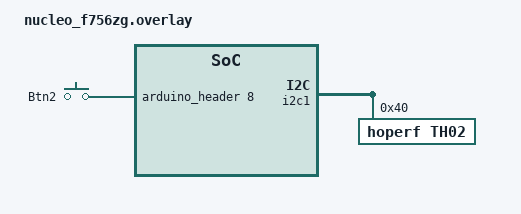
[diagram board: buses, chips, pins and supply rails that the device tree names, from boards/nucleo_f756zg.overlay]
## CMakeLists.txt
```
# SPDX-License-Identifier: Apache-2.0

cmake_minimum_required(VERSION 3.28.3)

find_package(Zephyr REQUIRED HINTS $ENV{ZEPHYR_BASE})
project(secure_mqtt_sensor_actuator)

FILE(GLOB app_sources src/*.c)
target_sources(app PRIVATE ${app_sources})

zephyr_include_directories(${APPLICATION_SOURCE_DIR}/src/tls_config)
```

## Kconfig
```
# Copyright (c) 2024 Analog Devices, Inc.
# SPDX-License-Identifier: Apache-2.0

mainmenu "Secure MQTT Sensor Actuator Sample Application"

config NET_SAMPLE_MQTT_BROKER_HOSTNAME
	string "Hostname of MQTT broker"
	default "192.0.5.1"
	help
	  MQTT broker's hostname or IP address.

config NET_SAMPLE_MQTT_BROKER_PORT
	string "MQTT Broker Connection Port"
	default "8883"
	help
	  Port through which the application should connect to the MQTT broker.
	  Secure MQTT uses port 8883.

config NET_SAMPLE_MQTT_PUB_TOPIC
	string "The MQTT topic the application should publish data to"
	default "zephyr_sample/sensor"

config NET_SAMPLE_MQTT_PUB_TOPIC_GPIO
	string "The MQTT topic the application should publish data to (GPIO)"
	default "zephyr_sample/gpio"

config NET_SAMPLE_MQTT_SUB_TOPIC_CMD
	string "The MQTT topic the application will receive commands on"
	default "zephyr_sample/command"

config NET_SAMPLE_MQTT_PUBLISH_INTERVAL
	int "Interval between MQTT publishes (in seconds)"
	default 2
	help
	  This config determines the frequency at which MQTT publishes occur.

choice NET_SAMPLE_MQTT_QOS
	prompt "Quality of Service level used for MQTT publish and subscribe"
	default NET_SAMPLE_MQTT_QOS_1_AT_LEAST_ONCE

config NET_SAMPLE_MQTT_QOS_0_AT_MOST_ONCE
	bool "QoS 0 / At most once delivery"
	help
	  No acknowledgment needed for published message.

config NET_SAMPLE_MQTT_QOS_1_AT_LEAST_ONCE
	bool "QoS 1 / At least once delivery"
	help
	  If acknowledgment expected for published message, duplicate messages permitted.

config NET_SAMPLE_MQTT_QOS_2_EXACTLY_ONCE
	bool "QoS 2 / Exactly once delivery"
	help
	   Acknowledgment expected and message shall be published only once.

endchoice

config NET_SAMPLE_MQTT_PAYLOAD_SIZE
	int "Size of MQTT payload in bytes"
	default 300

source "Kconfig.zephyr"
```

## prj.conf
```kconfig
# Enable network stack
CONFIG_NETWORKING=y
CONFIG_NET_LOG=y

# Enable IPv4
CONFIG_NET_IPV4=y

# Enable IPv6
CONFIG_NET_IPV6=y

# Enable TCP
CONFIG_NET_TCP=y

# Enable DHCP
CONFIG_NET_DHCPV4=y

# Enable Sockets (used by MQTT lib)
CONFIG_NET_SOCKETS=y
CONFIG_NET_SOCKETS_SOCKOPT_TLS=y

# Enable MQTT
CONFIG_MQTT_LIB=y
CONFIG_MQTT_LIB_TLS=y

# Enable Mbed TLS
CONFIG_MBEDTLS=y
CONFIG_MBEDTLS_BUILTIN=y
CONFIG_MBEDTLS_ENABLE_HEAP=y
CONFIG_MBEDTLS_HEAP_SIZE=60000
CONFIG_MBEDTLS_SSL_MAX_CONTENT_LEN=16384
CONFIG_MBEDTLS_PEM_CERTIFICATE_FORMAT=y
CONFIG_MBEDTLS_SERVER_NAME_INDICATION=y

# Enable JSON
CONFIG_JSON_LIBRARY=y

# Enable net conn manager
CONFIG_NET_CONNECTION_MANAGER=y

# Enable device hostname
CONFIG_NET_HOSTNAME_ENABLE=y

# Enable Posix API functionality
CONFIG_POSIX_API=y

# Enable sensor API
CONFIG_SENSOR=y

# Enable LED API
CONFIG_LED=y

# Main stack size
CONFIG_MAIN_STACK_SIZE=2048

# System work queue stack size
CONFIG_SYSTEM_WORKQUEUE_STACK_SIZE=2048

# Increase Rx net buffers and packets
CONFIG_NET_BUF_RX_COUNT=200
CONFIG_NET_PKT_RX_COUNT=50


# Ethernet is needed for PTP
CONFIG_NET_L2_ETHERNET=y
# ...so is UDP
CONFIG_NET_UDP=y

# PTP settings
CONFIG_PTP_CLOCK=y
CONFIG_PTP=y
#72894CONFIG_PTP_LOG_LEVEL_DBG=y

CONFIG_PTP_TIME_RECEIVER_ONLY=y
CONFIG_MAIN_STACK_SIZE=4096
CONFIG_REQUIRES_FLOAT_PRINTF=y

CONFIG_NET_MGMT=y
CONFIG_NET_MGMT_EVENT=y

CONFIG_NET_SHELL=y
CONFIG_NET_MGMT_EVENT_QUEUE_SIZE=10

CONFIG_INPUT=y
```

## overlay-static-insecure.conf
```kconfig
# Config to disable TLS and DHCPv4, allowing insecure MQTT and a static IP address.
# This allows quick testing of the application without need for a DHCP server or secure MQTT broker set up.
# Only recommended for quick sampling/testing.
# Usage: west build -b <board> -- -DOVERLAY_CONFIG=overlay-static-insecure.conf

# Disable MQTT with TLS
CONFIG_MQTT_LIB_TLS=n

# Disable DHCP
CONFIG_NET_DHCPV4=y

# Insecure MQTT uses port 1883
CONFIG_NET_SAMPLE_MQTT_BROKER_PORT="1883"

# # Static IP address config
CONFIG_NET_CONFIG_SETTINGS=y
# CONFIG_NET_CONFIG_MY_IPV4_ADDR="192.0.5.111"
CONFIG_NET_SAMPLE_MQTT_BROKER_HOSTNAME="192.0.5.1"
```

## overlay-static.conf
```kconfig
CONFIG_NET_DHCPV4=n
CONFIG_NET_CONFIG_SETTINGS=y
CONFIG_NET_CONFIG_NEED_IPV4=y
CONFIG_NET_CONFIG_MY_IPV4_ADDR="192.0.2.3"
CONFIG_NET_CONFIG_MY_IPV4_GW="192.0.2.2"
CONFIG_DNS_RESOLVER=y
CONFIG_DNS_SERVER_IP_ADDRESSES=y
CONFIG_DNS_SERVER1="8.8.8.8"
```

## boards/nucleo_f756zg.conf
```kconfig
CONFIG_NET_SAMPLE_MQTT_PUB_TOPIC="zephyr_sample/nucleo_f756g/sensor"
CONFIG_NET_SAMPLE_MQTT_PUB_TOPIC_GPIO="zephyr_sample/nucleo_f756g/gpio"
CONFIG_NET_SAMPLE_MQTT_SUB_TOPIC_CMD="zephyr_sample/nucleo_f756g/command"
```

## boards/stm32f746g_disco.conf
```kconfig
CONFIG_NET_SAMPLE_MQTT_PUB_TOPIC="zephyr_sample/f746gdisco/sensor"
CONFIG_NET_SAMPLE_MQTT_PUB_TOPIC_GPIO="zephyr_sample/f746gdisco/gpio"
CONFIG_NET_SAMPLE_MQTT_SUB_TOPIC_CMD="zephyr_sample/f746gdisco/command"
```

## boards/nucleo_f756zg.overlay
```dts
/*
 * Copyright (c) 2024 STMicroelectronics
 *
 * SPDX-License-Identifier: Apache-2.0
 */

 / {

	aliases {
		ambient-temp0 = &th02;
	};

	gpio_keys {
		// debounce-interval-ms = <2000>;
		user_button2: button2 {
			label = "Btn2";
			gpios = <&arduino_header 8 GPIO_PULL_UP>;
			zephyr,code = <INPUT_KEY_1>;
		};
	};
};

&i2c1 {
	th02: th02@40 {
		compatible = "hoperf,th02";
		reg = <0x40>;
	};
};
```

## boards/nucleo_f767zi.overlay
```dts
/*
 * Copyright (c) 2024 STMicroelectronics
 *
 * SPDX-License-Identifier: Apache-2.0
 */

/ {

	aliases {
		ambient-temp0 = &bme280_mikroe_weather_click;
	};

	gpio_keys {
		// debounce-interval-ms = <2000>;
		user_button2: button2 {
			label = "Btn2";
			gpios = <&arduino_header 8 GPIO_PULL_UP>;
			zephyr,code = <INPUT_KEY_1>;
		};
	};

};
```

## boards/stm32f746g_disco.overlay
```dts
/*
 * Copyright (c) 2024 STMicroelectronics
 *
 * SPDX-License-Identifier: Apache-2.0
 */

/ {
	gpio_keys {
		// debounce-interval-ms = <2000>;
		user_button2: button2 {
			label = "Btn2";
			gpios = <&arduino_header 8 GPIO_PULL_UP>;
			zephyr,code = <INPUT_KEY_1>;
		};
	};
};
```

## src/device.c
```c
/*
 * Copyright (c) 2024 Analog Devices, Inc.
 *
 * SPDX-License-Identifier: Apache-2.0
 */

#include <zephyr/logging/log.h>
LOG_MODULE_REGISTER(app_device, LOG_LEVEL_DBG);

#include <zephyr/kernel.h>
#include <zephyr/drivers/ptp_clock.h>
#include <zephyr/drivers/sensor.h>
#include <zephyr/drivers/led.h>
#include <zephyr/random/random.h>

#include <zephyr/net/net_if.h>
#include <zephyr/net/ethernet.h>

#include "device.h"

#include <time.h>

#include <zephyr/input/input.h>


#define SENSOR_CHAN     SENSOR_CHAN_AMBIENT_TEMP
#define SENSOR_UNIT     "Celsius"

/* Devices */
static const struct device *sensor = DEVICE_DT_GET_OR_NULL(DT_ALIAS(ambient_temp0));
static const struct device *leds = DEVICE_DT_GET_OR_NULL(DT_INST(0, gpio_leds));

extern struct k_msgq input_events_msgq;

/* Command handlers */
static void led_on_handler(void)
{
	device_write_led(LED_USER, LED_ON);
}

static void led_off_handler(void)
{
	device_write_led(LED_USER, LED_OFF);
}

/* Supported device commands */
struct device_cmd device_commands[] = {
	{"led_on", led_on_handler},
	{"led_off", led_off_handler}
};

const size_t num_device_commands = ARRAY_SIZE(device_commands);

/* Command dispatcher */
void device_command_handler(uint8_t *command)
{
	for (int i = 0; i < num_device_commands; i++) {
		if (strcmp(command, device_commands[i].command) == 0) {
			LOG_INF("Executing device command: %s", device_commands[i].command);
			return device_commands[i].handler();
		}
	}
	LOG_ERR("Unknown command: %s", command);
}

int device_read_sensor(struct sensor_sample *sample)
{
	int rc;
	struct sensor_value sensor_val;

	/* Read sample only if a real sensor device is present
	 * otherwise return a dummy value
	 */
	if (sensor == NULL) {
		sample->unit = SENSOR_UNIT;
		sample->value = 20.0 + (double)sys_rand32_get() / UINT32_MAX * 5.0;
		return 0;
	}

	struct net_if *iface;

	iface = net_if_get_default();
	if (iface == NULL) {
		LOG_ERR("No network interface configured");
		return -ENETDOWN;
	}

	const struct device *clk;
	struct net_ptp_time tm;

	clk = net_eth_get_ptp_clock(iface);
	if(clk) {
		rc = ptp_clock_get(clk, &tm);
		if (rc) {
			LOG_ERR("Failed to get PTP clock time [%d]", rc);
			return rc;
		}
		// printf("PTP clock time: %lld.%llu\n", tm.second, tm.nanosecond);

		time_t sec = (time_t)tm.second - 37; /** UTC to TAI offset */
		struct tm *tm_info = gmtime(&sec);

		char buffer[50];
		// Format time as ISO 8601 string with nanoseconds
		strftime(buffer, sizeof(buffer), "%Y-%m-%dT%H:%M:%S", tm_info);
		snprintf(buffer, sizeof(buffer), "%s.%dZ", buffer, tm.nanosecond);
	//	strncpy(sample->timestamp, buffer, sizeof(buffer));
		sample->ts.seconds = tm.second - 37;
		sample->ts.nanoseconds = tm.nanosecond;
	} else {
	//	sample->ts = { 0, 0 };
	}

	rc = sensor_sample_fetch(sensor);
	if (rc) {
		LOG_ERR("Failed to fetch sensor sample [%d]", rc);
		return rc;
	}

	rc = sensor_channel_get(sensor, SENSOR_CHAN, &sensor_val);
	if (rc) {
		LOG_ERR("Failed to get sensor channel [%d]", rc);
		return rc;
	}

	sample->unit = SENSOR_UNIT;
	sample->value = sensor_value_to_float(&sensor_val);
	return rc;
}

int device_write_led(enum led_id led_idx, enum led_state state)
{
	int rc;

	switch (state) {
	case LED_OFF:
		if (leds == NULL) {
			LOG_INF("LED %d OFF", led_idx);
			break;
		}
		led_off(leds, led_idx);
		break;
	case LED_ON:
		if (leds == NULL) {
			LOG_INF("LED %d ON", led_idx);
			break;
		}
		led_on(leds, led_idx);
		break;
	default:
		LOG_ERR("Invalid LED state setting");
		rc = -EINVAL;
		break;
	}

	return rc;
}

static int get_ptp_clock_time(struct net_ptp_time *tm)
{
	struct net_if *iface;
	int rc;

	iface = net_if_get_default();
	if (iface == NULL) {
		LOG_ERR("No network interface configured");
		return -ENETDOWN;
	}

	const struct device *clk;

	clk = net_eth_get_ptp_clock(iface);
	if(clk) {
		rc = ptp_clock_get(clk, tm);
		if (rc) {
			LOG_ERR("Failed to get PTP clock time [%d]", rc);
			return rc;
		}
	} else {
		tm->second = 0;
		tm->nanosecond = 0;
	}

	return 0;
}

static struct timestamp event_ts;

static void input_dump_cb(struct input_event *evt)
{
	uint64_t event_time = k_cycle_get_64();
	struct net_ptp_time tm;
	int rc;

	if(evt->value != 1) {
		return;
	}

	rc = get_ptp_clock_time(&tm);
	if (rc == 0) {
		uint64_t get_time = k_cycle_get_64();

		time_t sec = (time_t)tm.second - 37; /** UTC to TAI offset */
		struct tm *tm_info = gmtime(&sec);

		// correct by the time it took to get the PTP clock time
		tm.nanosecond -= k_cyc_to_ns_floor64(get_time - event_time);

		// correct by the debounce time (30ms). TODO -- shouldn't be hardcoded!
		tm.nanosecond -= 30 * 1000 * 1000;

		char buffer[50];
		// Format time as ISO 8601 string with nanoseconds
		strftime(buffer, sizeof(buffer), "%Y-%m-%dT%H:%M:%S", tm_info);
		snprintf(buffer, sizeof(buffer), "%s.%dZ", buffer, tm.nanosecond);
		printk("PTP clock time: %s\n", buffer);

		event_ts.seconds = tm.second - 37;
		event_ts.nanoseconds = tm.nanosecond;

		k_msgq_put(&input_events_msgq, &event_ts, K_NO_WAIT);
	} else {
		LOG_ERR("Failed to get PTP clock time [%d]", rc);
	}
}
INPUT_CALLBACK_DEFINE(NULL, input_dump_cb);


bool devices_ready(void)
{
	bool rc = true;

	/* Check readiness only if a real sensor device is present */
	if (sensor != NULL) {
		if (!device_is_ready(sensor)) {
			LOG_ERR("Device %s is not ready", sensor->name);
			rc = false;
		} else {
			LOG_INF("Device %s is ready", sensor->name);
		}
	}

	if (leds != NULL) {
		if (!device_is_ready(leds)) {
			LOG_ERR("Device %s is not ready", leds->name);
			rc = false;
		} else {
			LOG_INF("Device %s is ready", leds->name);
		}
	}

	return rc;
}
```

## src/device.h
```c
/*
 * Copyright (c) 2024 Analog Devices, Inc.
 *
 * SPDX-License-Identifier: Apache-2.0
 */

#ifndef __DEVICE_H__
#define __DEVICE_H__

/** @brief Sensor sample structure */

struct timestamp {
	uint64_t seconds;
	uint32_t nanoseconds;
};

struct sensor_sample {
	const char *unit;
	struct timestamp ts;
	float value;
};

/** @brief Available board LEDs */
enum led_id {
	LED_NET, /* Network status LED*/
	LED_USER /* User LED */
};

/** @brief LED states */
enum led_state {
	LED_OFF,
	LED_ON
};

/** @brief Device command consisting of a command string
 *         and associated handler function pointer
 */
struct device_cmd {
	const char *command;
	void (*handler)();
};

/**
 *  @brief Check if all devices are ready
 */
bool devices_ready(void);

/**
 *  @brief Read sample from the sensor
 */
int device_read_sensor(struct sensor_sample *sample);

/**
 *  @brief Write to a board LED
 */
int device_write_led(enum led_id led_idx, enum led_state state);

/**
 *  @brief Handler function for commands received over MQTT
 */
void device_command_handler(uint8_t *command);

#endif /* __DEVICE_H__ */
```

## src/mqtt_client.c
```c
/*
 * Copyright (c) 2024 Analog Devices, Inc.
 *
 * SPDX-License-Identifier: Apache-2.0
 */

#include <zephyr/logging/log.h>
LOG_MODULE_REGISTER(app_mqtt, LOG_LEVEL_DBG);

#include <zephyr/kernel.h>
#include <zephyr/net/socket.h>
#include <zephyr/net/mqtt.h>
#include <zephyr/data/json.h>
#include <zephyr/random/random.h>

#include "mqtt_client.h"
#include "device.h"

/* Buffers for MQTT client */
static uint8_t rx_buffer[CONFIG_NET_SAMPLE_MQTT_PAYLOAD_SIZE];
static uint8_t tx_buffer[CONFIG_NET_SAMPLE_MQTT_PAYLOAD_SIZE];

/* MQTT payload buffer */
static uint8_t payload_buf[CONFIG_NET_SAMPLE_MQTT_PAYLOAD_SIZE];

/* MQTT broker details */
static struct sockaddr_storage broker;

/* Socket descriptor */
static struct zsock_pollfd fds[1];
static int nfds;

/* JSON payload format */

static const struct json_obj_descr timestamp_descr[] = {
	JSON_OBJ_DESCR_PRIM(struct timestamp, seconds, JSON_TOK_NUMBER),
	JSON_OBJ_DESCR_PRIM(struct timestamp, nanoseconds, JSON_TOK_NUMBER),
};

static const struct json_obj_descr sensor_sample_descr[] = {
	JSON_OBJ_DESCR_PRIM(struct sensor_sample, unit, JSON_TOK_STRING),
	JSON_OBJ_DESCR_OBJECT(struct sensor_sample, ts, timestamp_descr),
	JSON_OBJ_DESCR_PRIM(struct sensor_sample, value, JSON_TOK_FLOAT),
};

K_MSGQ_DEFINE(input_events_msgq, sizeof(struct timestamp), 10, 1);

/* MQTT connectivity status flag */
bool mqtt_connected;

/* MQTT client ID buffer */
static uint8_t client_id[50];

#if defined(CONFIG_MQTT_LIB_TLS)
#include "tls_config/cert.h"

/* This should match the CN field in the server's CA cert */
#define TLS_SNI_HOSTNAME	CONFIG_NET_SAMPLE_MQTT_BROKER_HOSTNAME
#define APP_CA_CERT_TAG		1

static const sec_tag_t m_sec_tags[] = {
	APP_CA_CERT_TAG,
};

/** Register CA certificate for TLS */
static int tls_init(void)
{
	int rc;

	rc = tls_credential_add(APP_CA_CERT_TAG, TLS_CREDENTIAL_CA_CERTIFICATE,
				 ca_certificate, sizeof(ca_certificate));
	if (rc < 0) {
		LOG_ERR("Failed to register public certificate: %d", rc);
		return rc;
	}

	return rc;
}
#endif

static void prepare_fds(struct mqtt_client *client)
{
	if (client->transport.type == MQTT_TRANSPORT_NON_SECURE) {
		fds[0].fd = client->transport.tcp.sock;
	}
#if defined(CONFIG_MQTT_LIB_TLS)
	else if (client->transport.type == MQTT_TRANSPORT_SECURE) {
		fds[0].fd = client->transport.tls.sock;
	}
#endif

	fds[0].events = ZSOCK_POLLIN;
	nfds = 1;
}

static void clear_fds(void)
{
	nfds = 0;
}

/** Initialise the MQTT client ID as the board name with random hex postfix */
static void init_mqtt_client_id(void)
{
	snprintk(client_id, sizeof(client_id), CONFIG_BOARD"_%x", (uint8_t)sys_rand32_get());
}

static inline void on_mqtt_connect(void)
{
	mqtt_connected = true;
	device_write_led(LED_NET, LED_ON);
	LOG_INF("Connected to MQTT broker!");
	LOG_INF("Hostname: %s", CONFIG_NET_SAMPLE_MQTT_BROKER_HOSTNAME);
	LOG_INF("Client ID: %s", client_id);
	LOG_INF("Port: %s", CONFIG_NET_SAMPLE_MQTT_BROKER_PORT);
	LOG_INF("TLS: %s",
		IS_ENABLED(CONFIG_MQTT_LIB_TLS) ? "Enabled" : "Disabled");
}

static inline void on_mqtt_disconnect(void)
{
	mqtt_connected = false;
	clear_fds();
	device_write_led(LED_NET, LED_OFF);
	LOG_INF("Disconnected from MQTT broker");
}

/** Called when an MQTT payload is received.
 *  Reads the payload and calls the commands
 *  handler if a payloads is received on the
 *  command topic
 */
static void on_mqtt_publish(struct mqtt_client *const client, const struct mqtt_evt *evt)
{
	int rc;
	uint8_t payload[CONFIG_NET_SAMPLE_MQTT_PAYLOAD_SIZE];

	rc = mqtt_read_publish_payload(client, payload,
					CONFIG_NET_SAMPLE_MQTT_PAYLOAD_SIZE);
	if (rc < 0) {
		LOG_ERR("Failed to read received MQTT payload [%d]", rc);
		return;
	}
	/* Place null terminator at end of payload buffer */
	payload[rc] = '\0';

	LOG_INF("MQTT payload received!");
	LOG_INF("topic: '%s', payload: %s",
		evt->param.publish.message.topic.topic.utf8, payload);

	/* If the topic is a command, call the command handler  */
	if (strcmp(evt->param.publish.message.topic.topic.utf8,
			CONFIG_NET_SAMPLE_MQTT_SUB_TOPIC_CMD) == 0) {
		device_command_handler(payload);
	}
}

/** Handler for asynchronous MQTT events */
static void mqtt_event_handler(struct mqtt_client *const client, const struct mqtt_evt *evt)
{
	switch (evt->type) {
	case MQTT_EVT_CONNACK:
		if (evt->result != 0) {
			LOG_ERR("MQTT Event Connect failed [%d]", evt->result);
			break;
		}
		on_mqtt_connect();
		break;

	case MQTT_EVT_DISCONNECT:
		on_mqtt_disconnect();
		break;

	case MQTT_EVT_PINGRESP:
		LOG_INF("PINGRESP packet");
		break;

	case MQTT_EVT_PUBACK:
		if (evt->result != 0) {
			LOG_ERR("MQTT PUBACK error [%d]", evt->result);
			break;
		}

		LOG_INF("PUBACK packet ID: %u", evt->param.puback.message_id);
		break;

	case MQTT_EVT_PUBREC:
		if (evt->result != 0) {
			LOG_ERR("MQTT PUBREC error [%d]", evt->result);
			break;
		}

		LOG_INF("PUBREC packet ID: %u", evt->param.pubrec.message_id);

		const struct mqtt_pubrel_param rel_param = {
			.message_id = evt->param.pubrec.message_id
		};

		mqtt_publish_qos2_release(client, &rel_param);
		break;

	case MQTT_EVT_PUBREL:
		if (evt->result != 0) {
			LOG_ERR("MQTT PUBREL error [%d]", evt->result);
			break;
		}

		LOG_INF("PUBREL packet ID: %u", evt->param.pubrel.message_id);

		const struct mqtt_pubcomp_param rec_param = {
			.message_id = evt->param.pubrel.message_id
		};

		mqtt_publish_qos2_complete(client, &rec_param);
		break;

	case MQTT_EVT_PUBCOMP:
		if (evt->result != 0) {
			LOG_ERR("MQTT PUBCOMP error %d", evt->result);
			break;
		}

		LOG_INF("PUBCOMP packet ID: %u", evt->param.pubcomp.message_id);
		break;

	case MQTT_EVT_SUBACK:
		if (evt->result == 0x80) {
			LOG_ERR("MQTT SUBACK error [%d]", evt->result);
			break;
		}

		LOG_INF("SUBACK packet ID: %d", evt->param.suback.message_id);
		break;

	case MQTT_EVT_PUBLISH:
		const struct mqtt_publish_param *p = &evt->param.publish;

		if (p->message.topic.qos == MQTT_QOS_1_AT_LEAST_ONCE) {
			const struct mqtt_puback_param ack_param = {
				.message_id = p->message_id
			};
			mqtt_publish_qos1_ack(client, &ack_param);
		} else if (p->message.topic.qos == MQTT_QOS_2_EXACTLY_ONCE) {
			const struct mqtt_pubrec_param rec_param = {
				.message_id = p->message_id
			};
			mqtt_publish_qos2_receive(client, &rec_param);
		}

		on_mqtt_publish(client, evt);

	default:
		break;
	}
}

/** Poll the MQTT socket for received data */
static int poll_mqtt_socket(struct mqtt_client *client, int timeout)
{
	int rc;

	prepare_fds(client);

	if (nfds <= 0) {
		return -EINVAL;
	}

	rc = zsock_poll(fds, nfds, timeout);
	if (rc < 0) {
		LOG_ERR("Socket poll error [%d]", rc);
	}

	return rc;
}

/** Retrieves a sensor sample and encodes it in JSON format */
static int get_mqtt_payload(struct mqtt_binstr *payload)
{
	int rc;
	struct sensor_sample sample;

	rc = device_read_sensor(&sample);
	if (rc != 0) {
		LOG_ERR("Failed to get sensor sample [%d]", rc);
		return rc;
	}

	rc = json_obj_encode_buf(sensor_sample_descr, ARRAY_SIZE(sensor_sample_descr),
					&sample, payload_buf, CONFIG_NET_SAMPLE_MQTT_PAYLOAD_SIZE);
	if (rc != 0) {
		LOG_ERR("Failed to encode JSON object [%d]", rc);
		return rc;
	}

	payload->data = payload_buf;
	payload->len = strlen(payload->data);

	return rc;
}

static int get_mqtt_payload_input_event(struct timestamp input_event_ts, struct mqtt_binstr *payload)
{
	int rc;
	struct sensor_sample sample;

	sample.unit = "unitless";
	sample.value = 1;
	sample.ts.seconds = input_event_ts.seconds;
	sample.ts.nanoseconds = input_event_ts.nanoseconds;

	rc = json_obj_encode_buf(sensor_sample_descr, ARRAY_SIZE(sensor_sample_descr),
					&sample, payload_buf, CONFIG_NET_SAMPLE_MQTT_PAYLOAD_SIZE);

	if (rc != 0) {
		LOG_ERR("Failed to encode JSON object [%d]", rc);
		return rc;
	}

	payload->data = payload_buf;
	payload->len = strlen(payload->data);

	return rc;
}

int app_mqtt_publish(struct mqtt_client *client)
{
	int rc;
	struct mqtt_publish_param param;
	struct mqtt_binstr payload;
	static uint16_t msg_id = 1;
	struct mqtt_topic topic = {
		.topic = {
			.utf8 = CONFIG_NET_SAMPLE_MQTT_PUB_TOPIC,
			.size = strlen(topic.topic.utf8)
		},
		.qos = IS_ENABLED(CONFIG_NET_SAMPLE_MQTT_QOS_0_AT_MOST_ONCE) ? 0 :
			(IS_ENABLED(CONFIG_NET_SAMPLE_MQTT_QOS_1_AT_LEAST_ONCE) ? 1 : 2)
	};

	rc = get_mqtt_payload(&payload);
	if (rc != 0) {
		LOG_ERR("Failed to get MQTT payload [%d]", rc);
	}

	param.message.topic = topic;
	param.message.payload = payload;
	param.message_id = msg_id++;
	param.dup_flag = 0;
	param.retain_flag = 0;

	rc = mqtt_publish(client, &param);
	if (rc != 0) {
		LOG_ERR("MQTT Publish failed [%d]", rc);
	}

	LOG_INF("Published to topic '%s', QoS %d",
			param.message.topic.topic.utf8,
			param.message.topic.qos);

	// look at all the input events that potentially piled up in input_events_msgq
	struct timestamp input_event_ts;
	while (k_msgq_get(&input_events_msgq, &input_event_ts, K_NO_WAIT) == 0) {
		LOG_INF("Received input event  at: %lld.%llu", input_event_ts.seconds, input_event_ts.nanoseconds);

		topic.topic.utf8 = CONFIG_NET_SAMPLE_MQTT_PUB_TOPIC_GPIO;
		topic.topic.size = strlen(topic.topic.utf8);

		rc = get_mqtt_payload_input_event(input_event_ts, &payload);

		param.message.topic = topic;
		param.message.payload = payload;
		param.message_id = msg_id++;

		rc = mqtt_publish(client, &param);
		if (rc != 0) {
			LOG_ERR("MQTT Publish failed [%d]", rc);
		}

		LOG_INF("Published to topic '%s', QoS %d",
				param.message.topic.topic.utf8,
				param.message.topic.qos);
	}

	return rc;
}

int app_mqtt_subscribe(struct mqtt_client *client)
{
	int rc;
	struct mqtt_topic sub_topics[] = {
		{
			.topic = {
				.utf8 = CONFIG_NET_SAMPLE_MQTT_SUB_TOPIC_CMD,
				.size = strlen(sub_topics->topic.utf8)
			},
			.qos = IS_ENABLED(CONFIG_NET_SAMPLE_MQTT_QOS_0_AT_MOST_ONCE) ? 0 :
				(IS_ENABLED(CONFIG_NET_SAMPLE_MQTT_QOS_1_AT_LEAST_ONCE) ? 1 : 2)
		}
	};
	const struct mqtt_subscription_list sub_list = {
		.list = sub_topics,
		.list_count = ARRAY_SIZE(sub_topics),
		.message_id = 5841u
	};

	LOG_INF("Subscribing to %d topic(s)", sub_list.list_count);

	rc = mqtt_subscribe(client, &sub_list);
	if (rc != 0) {
		LOG_ERR("MQTT Subscribe failed [%d]", rc);
	}

	return rc;
}

/** Process incoming MQTT data and keep the connection alive*/
int app_mqtt_process(struct mqtt_client *client)
{
	int rc;

	rc = poll_mqtt_socket(client, mqtt_keepalive_time_left(client));
	if (rc != 0) {
		if (fds[0].revents & ZSOCK_POLLIN) {
			/* MQTT data received */
			rc = mqtt_input(client);
			if (rc != 0) {
				LOG_ERR("MQTT Input failed [%d]", rc);
				return rc;
			}
			/* Socket error */
			if (fds[0].revents & (ZSOCK_POLLHUP | ZSOCK_POLLERR)) {
				LOG_ERR("MQTT socket closed / error");
				return -ENOTCONN;
			}
		}
	} else {
		/* Socket poll timed out, time to call mqtt_live() */
		rc = mqtt_live(client);
		if (rc != 0) {
			LOG_ERR("MQTT Live failed [%d]", rc);
			return rc;
		}
	}

	return 0;
}

void app_mqtt_run(struct mqtt_client *client)
{
	int rc;

	/* Subscribe to MQTT topics */
	app_mqtt_subscribe(client);

	/* Thread will primarily remain in this loop */
	while (mqtt_connected) {
		rc = app_mqtt_process(client);
		if (rc != 0) {
			break;
		}
	}
	/* Gracefully close connection */
	mqtt_disconnect(client);
}

void app_mqtt_connect(struct mqtt_client *client)
{
	int rc = 0;

	mqtt_connected = false;

	/* Block until MQTT CONNACK event callback occurs */
	while (!mqtt_connected) {
		rc = mqtt_connect(client);
		if (rc != 0) {
			LOG_ERR("MQTT Connect failed [%d]", rc);
			k_msleep(MSECS_WAIT_RECONNECT);
			continue;
		}

		/* Poll MQTT socket for response */
		rc = poll_mqtt_socket(client, MSECS_NET_POLL_TIMEOUT);
		if (rc > 0) {
			mqtt_input(client);
		}

		if (!mqtt_connected) {
			mqtt_abort(client);
		}
	}
}

int app_mqtt_init(struct mqtt_client *client)
{
	int rc;
	uint8_t broker_ip[NET_IPV4_ADDR_LEN];
	struct sockaddr_in *broker4;
	struct addrinfo *result;
	const struct addrinfo hints = {
		.ai_family = AF_INET,
		.ai_socktype = SOCK_STREAM
	};

	/* Resolve IP address of MQTT broker */
	rc = getaddrinfo(CONFIG_NET_SAMPLE_MQTT_BROKER_HOSTNAME,
				CONFIG_NET_SAMPLE_MQTT_BROKER_PORT, &hints, &result);
	if (rc != 0) {
		LOG_ERR("Failed to resolve broker hostname [%s]", gai_strerror(rc));
		return -EIO;
	}
	if (result == NULL) {
		LOG_ERR("Broker address not found");
		return -ENOENT;
	}

	broker4 = (struct sockaddr_in *)&broker;
	broker4->sin_addr.s_addr = ((struct sockaddr_in *)result->ai_addr)->sin_addr.s_addr;
	broker4->sin_family = AF_INET;
	broker4->sin_port = ((struct sockaddr_in *)result->ai_addr)->sin_port;
	freeaddrinfo(result);

	/* Log resolved IP address */
	inet_ntop(AF_INET, &broker4->sin_addr.s_addr, broker_ip, sizeof(broker_ip));
	LOG_INF("Connecting to MQTT broker @ %s", broker_ip);

	/* MQTT client configuration */
	init_mqtt_client_id();
	mqtt_client_init(client);
	client->broker = &broker;
	client->evt_cb = mqtt_event_handler;
	client->client_id.utf8 = client_id;
	client->client_id.size = strlen(client->client_id.utf8);
	client->password = NULL;
	client->user_name = NULL;
	client->protocol_version = MQTT_VERSION_3_1_1;

	/* MQTT buffers configuration */
	client->rx_buf = rx_buffer;
	client->rx_buf_size = sizeof(rx_buffer);
	client->tx_buf = tx_buffer;
	client->tx_buf_size = sizeof(tx_buffer);

	/* MQTT transport configuration */
#if defined(CONFIG_MQTT_LIB_TLS)
	struct mqtt_sec_config *tls_config;

	client->transport.type = MQTT_TRANSPORT_SECURE;

	rc = tls_init();
	if (rc != 0) {
		LOG_ERR("TLS init error");
		return rc;
	}

	tls_config = &client->transport.tls.config;
	tls_config->peer_verify = TLS_PEER_VERIFY_REQUIRED;
	tls_config->cipher_list = NULL;
	tls_config->sec_tag_list = m_sec_tags;
	tls_config->sec_tag_count = ARRAY_SIZE(m_sec_tags);
#if defined(CONFIG_MBEDTLS_SERVER_NAME_INDICATION)
	tls_config->hostname = TLS_SNI_HOSTNAME;
#else
	tls_config->hostname = NULL;
#endif /* CONFIG_MBEDTLS_SERVER_NAME_INDICATION */
#endif /* CONFIG_MQTT_LIB_TLS */

	return rc;
}
```
